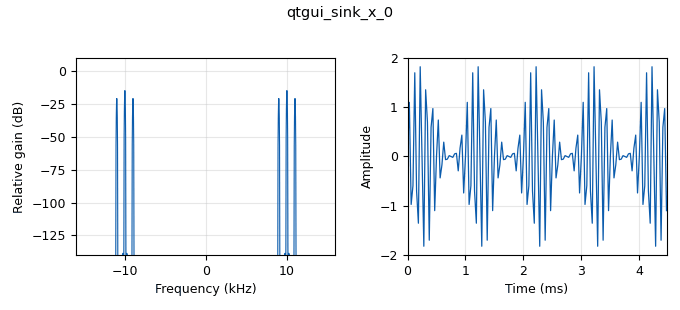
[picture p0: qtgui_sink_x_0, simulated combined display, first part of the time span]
options:
  parameters:
    author: year2
    generate_options: qt_gui
    id: Sudarshan_2_Lab_9
    output_language: python
    title: Not titled yet
  states: {}

blocks:
- name: samp_rate
  id: variable
  parameters:
    value: '32000'
  states: {}
- name: analog_sig_source_x_0
  id: analog_sig_source_x
  parameters:
    amp: '1'
    freq: '1000'
    offset: '0'
    phase: '0'
    samp_rate: samp_rate
    type: float
    waveform: analog.GR_SIN_WAVE
  states: {}
- name: analog_sig_source_x_0_0
  id: analog_sig_source_x
  parameters:
    amp: '1'
    freq: '10000'
    offset: '0'
    phase: '0'
    samp_rate: samp_rate
    type: float
    waveform: analog.GR_SIN_WAVE
  states: {}
- name: blocks_add_const_vxx_1
  id: blocks_add_const_vxx
  parameters:
    const: '1'
    type: float
  states: {}
- name: blocks_multiply_xx_0
  id: blocks_multiply_xx
  parameters:
    type: float
  states: {}
- name: qtgui_sink_x_0
  id: qtgui_sink_x
  parameters:
    bw: samp_rate
    fc: '0'
    fftsize: '1024'
    type: float
  states: {}

connections:
- [analog_sig_source_x_0, '0', blocks_add_const_vxx_1, '0']
- [analog_sig_source_x_0_0, '0', blocks_multiply_xx_0, '1']
- [blocks_add_const_vxx_1, '0', blocks_multiply_xx_0, '0']
- [blocks_multiply_xx_0, '0', qtgui_sink_x_0, '0']

metadata:
  file_format: 1
  grc_version: 3.10.12.0
